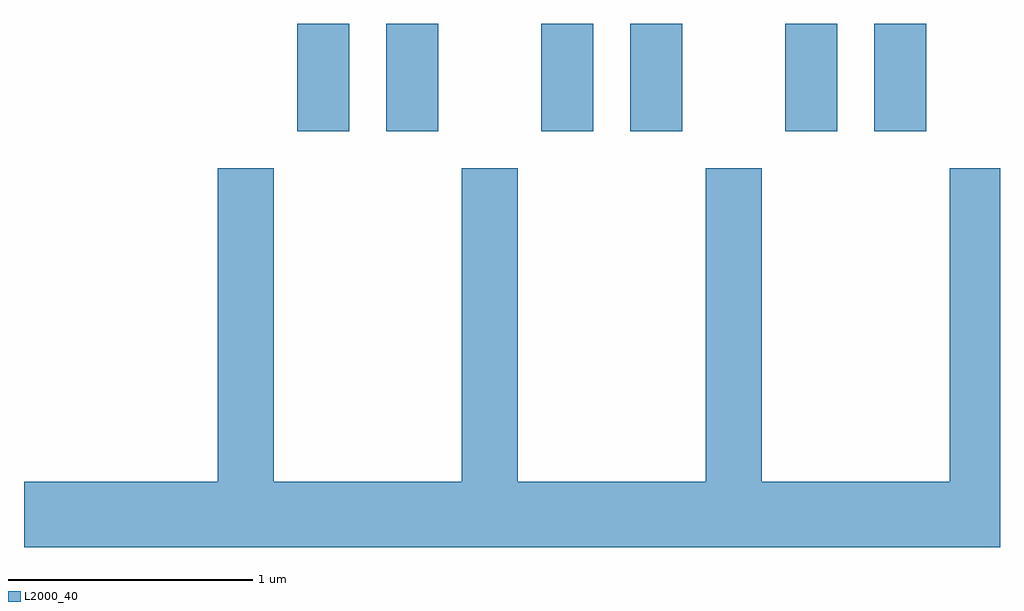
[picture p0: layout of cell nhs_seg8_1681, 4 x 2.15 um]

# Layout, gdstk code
import gdstk
lib = gdstk.Library(unit=1e-6, precision=1e-09)
def R(c, l, rs):  # rectangles x0, y0, x1, y1
    for r in rs: c.add(gdstk.rectangle(r[:2], r[2:], *l))
def P(c, l, *ps):  # polygons
    for p in ps: c.add(gdstk.Polygon(p, *l))
L2000_40 = (2000, 40)

nhs_seg8_1681 = lib.new_cell('nhs_seg8_1681')
R(nhs_seg8_1681, L2000_40, [(236.731,1835.901,236.944,1836.342), (237.096,1835.901,237.309,1836.342), (237.731,1835.901,237.944,1836.342), (238.096,1835.901,238.309,1836.342), (238.731,1835.901,238.944,1836.342), (239.096,1835.901,239.309,1836.342)])
P(nhs_seg8_1681, L2000_40, [(239.611,1835.749),(239.406,1835.749),(239.406,1834.464),(238.634,1834.464),(238.634,1835.749),(238.406,1835.749),(238.406,1834.464),(237.634,1834.464),(237.634,1835.749),(237.406,1835.749),(237.406,1834.464),(236.634,1834.464),(236.634,1835.749),(236.406,1835.749),(236.406,1834.464),(235.611,1834.464),(235.611,1834.196),(239.611,1834.196)])

lib.write_gds('nhs_seg8_1681.gds')
